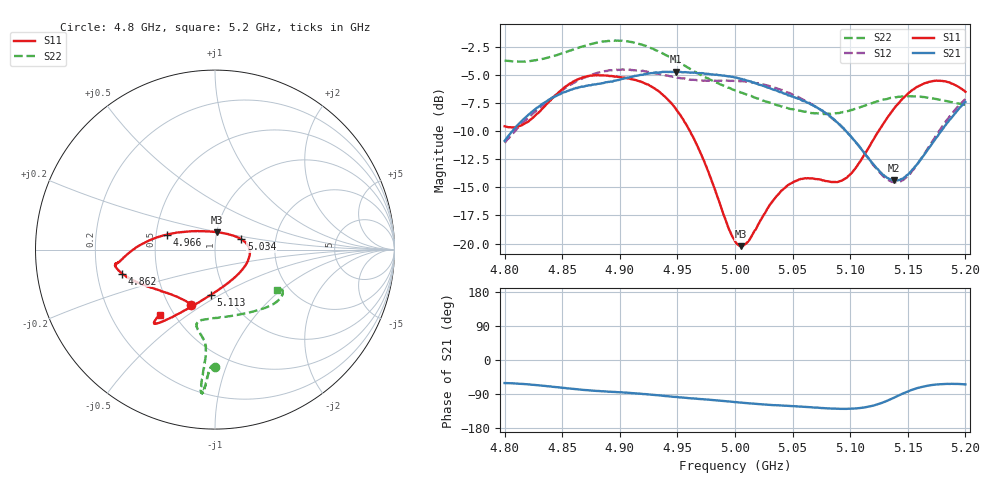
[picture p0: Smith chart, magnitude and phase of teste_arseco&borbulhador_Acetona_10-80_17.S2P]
! Network Analyzer HP8722D
! Hewlett-Packard
! Data name: Linha & Wilkinson
! Saver's name: Rodrigo Anjos
! Comments: Teste da utilização de aquisição
! continua pelo VNA HP8722D
! Time and date: 17/4/2025 14:30
!  Frequency  S11  S21  S12  S22
# HZ  S  MA R 50
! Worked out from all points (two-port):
!   401 points, 4.8 GHz to 5.2 GHz, reference 50 ohm
!   highest |S21| = -4.68 dB at 4.949 GHz (marker M1); lowest = -14.4 dB at 5.138 GHz (marker M2)
!   |S21| within 3 dB of the highest: 4.831 GHz to 5.068 GHz (236.5 MHz wide, 4.78 % of centre); 5.197 GHz to end of sweep
!   lowest |S11| = -20.2 dB at 5.005 GHz (marker M3), VSWR 1.22, Z = 49.9 + j9.77 ohm
!   |S11| at or under -10 dB: 4.961 GHz to 5.124 GHz (163.4 MHz wide, 3.24 % of centre)
!   |S22| runs from -8.5 to -1.9 dB; largest |S21 - S12| = 0.87
!   S11 on the Smith chart (normalised r, x): 4.8 GHz: 0.65, -0.45; 4.862 GHz: 0.31, -0.11; 4.966 GHz: 0.57, +0.10; 5.034 GHz: 1.33, +0.16; 5.113 GHz: 0.85, -0.45; 5.2 GHz: 0.42, -0.39
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4.8e9  0.3334 -113.3  0.2871 -60.8  0.2813 -175.0  0.6561 -90.0
4.819e9  0.3467 -133.1  0.3684 -63.9  0.3573 -173.6  0.6506 -91.6
4.862e9  0.5355 -165.6  0.4944 -77.0  0.5279 -176.7  0.742 -93.8
4.867e9  0.5482 -167.6  0.5013 -78.5  0.5429 -177.7  0.7551 -93.9
4.9e9  0.5522 -172.1  0.5385 -85.2  0.5949 175.7  0.8029 -95.4
4.934e9  0.4769 -178.0  0.5787 -93.4  0.5721 171.9  0.7169 -95.7
4.949e9  0.3959 174.7  0.5836 -97.4  0.5504 172.2  0.6533 -95.3
4.966e9  0.2816 162.9  0.5771 -102.0  0.5367 173.8  0.5819 -95.0
5e9  0.1025 102.1  0.5501 -111.2  0.5321 176.3  0.4822 -99.1
5.005e9  0.09731 84.8  0.5421 -112.4  0.5293 176.1  0.4708 -100.3
5.012e9  0.1032 62.0  0.5304 -114.1  0.5263 175.9  0.4584 -101.8
5.034e9  0.1578 21.2  0.4844 -119.3  0.4969 175.0  0.4183 -103.5
5.049e9  0.1859 5.9  0.4532 -121.6  0.4648 174.2  0.3977 -99.9
5.067e9  0.1952 -13.2  0.4152 -124.9  0.4173 173.7  0.3813 -91.0
5.093e9  0.1913 -57.3  0.3313 -128.8  0.3296 174.2  0.3846 -70.7
5.113e9  0.2522 -95.0  0.2507 -124.8  0.2503 179.8  0.4129 -55.1
5.134e9  0.3751 -116.2  0.1939 -105.1  0.191 -158.0  0.4446 -43.0
5.138e9  0.3997 -118.5  0.1911 -99.4  0.1877 -151.6  0.4479 -41.2
5.151e9  0.4701 -124.3  0.2051 -81.9  0.2034 -131.4  0.4542 -36.4
5.17e9  0.5282 -128.7  0.2737 -66.4  0.2793 -112.5  0.445 -32.0
5.184e9  0.5262 -130.0  0.3447 -63.0  0.3556 -107.3  0.4317 -31.0
5.2e9  0.4755 -130.4  0.4281 -64.3  0.4407 -106.4  0.4148 -33.3
